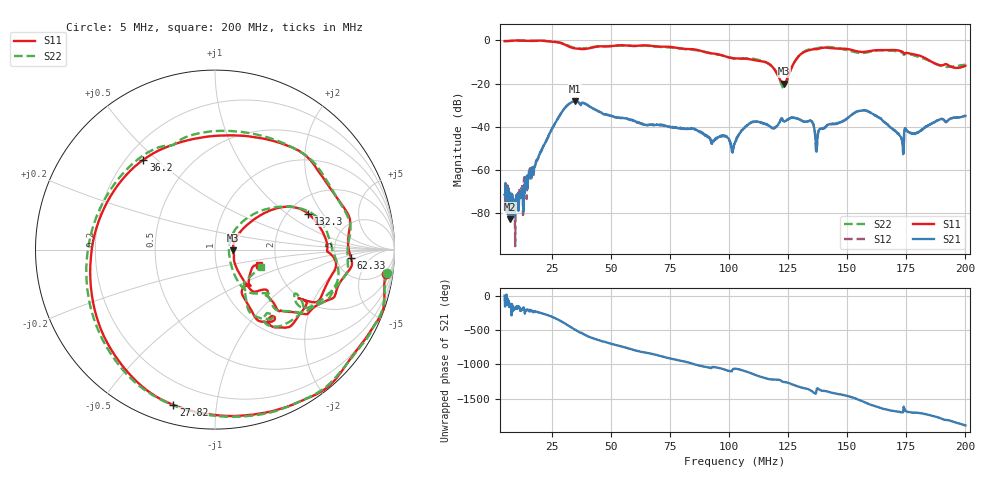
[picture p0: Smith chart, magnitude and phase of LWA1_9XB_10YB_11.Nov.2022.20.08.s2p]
!Keysight Technologies N9917A: A.12.46
!Date: Friday, 11 November 2022 20:09:11
!Timezone: (UTC) Coordinated Universal Time
!Model: N9917A
!Serial: MY56071016
!GPS Latitude:
!GPS Longitude:
!GPS TimeStamp: 0001-01-01 00:00:00Z
!GPS Seconds Since Last Read: 0
!CHECKSUM:1535077626
!Correction: S11(ON U)S21(ON U)S12(ON U)S22(ON U)
!S2P File: Measurements:S11,S21,S12,S22:
# Hz S DB R 50
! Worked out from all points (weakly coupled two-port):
!   1001 points, 5 MHz to 200 MHz, reference 50 ohm
!   highest |S21| = -28.17 dB at 34.64 MHz (marker M1); lowest = -82.7 dB at 7.145 MHz (marker M2)
!   lowest |S11| = -20.0 dB at 123.2 MHz (marker M3), VSWR 1.22, Z = 61 - j0.536 ohm
!   |S11| at or under -10 dB: 115.3 MHz to 127.7 MHz (12.43 MHz wide, 10.2 % of centre); 185.9 MHz to end of sweep
!   |S22| runs from -22.2 to -0.1 dB; largest |S21 - S12| = 0.00078
!   S11 on the Smith chart (normalised r, x): 5 MHz: 4, -13; 27.82 MHz: 0.09, -0.76; 36.2 MHz: 0.27, +0.45; 62.33 MHz: 6.96, -1.54; 132.3 MHz: 2.54, +1.47; 200 MHz: 1.61, -0.30
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5000000  -0.34 -8.0  -71.41 -1.0  -78.75 -120.1  -0.32 -7.7
7145000  -0.26 -13.4  -82.69 -124.4  -71.96 -171.3  -0.26 -13.0
9875000  -0.05 -19.5  -73.78 176.9  -76.28 171.7  -0.09 -19.4
2.0015e7  -0.08 -51.0  -51.70 111.8  -52.43 108.1  -0.14 -51.0
2.7815e7  -0.95 -105.1  -35.61 8.2  -35.63 7.8  -0.92 -104.5
3.464e7  -3.69 152.9  -28.17 -132.0  -28.20 -131.9  -3.44 153.4
3.62e7  -3.87 128.5  -28.61 -164.8  -28.60 -164.8  -3.60 127.6
3.7565e7  -4.03 109.6  -29.17 179.4  -29.13 179.2  -3.95 109.9
4.5755e7  -2.75 43.1  -33.31 62.6  -33.38 62.7  -2.68 40.9
6.233e7  -2.39 -3.5  -38.24 -92.2  -38.30 -91.3  -2.59 -4.6
7.013e7  -2.90 -16.0  -39.09 -150.2  -39.07 -149.9  -2.99 -16.6
1.025e8  -8.35 -42.0  -47.18 16.4  -47.09 16.6  -8.49 -41.1
1.0913e8  -8.79 -38.0  -38.22 -46.4  -38.07 -45.9  -8.28 -39.5
1.16345e8  -10.49 -48.3  -39.13 -129.1  -39.12 -129.1  -10.63 -52.4
1.2317e8  -20.05 -2.5  -37.40 -173.8  -37.41 -174.3  -22.23 0.5
1.32335e8  -5.10 21.2  -37.61 90.8  -37.69 92.0  -4.79 20.6
1.35065e8  -4.21 7.0  -37.76 51.7  -37.60 52.2  -3.96 8.1
1.3721e8  -4.06 -1.0  -48.22 91.1  -48.73 95.0  -3.68 -0.4
1.5554e8  -5.32 -30.3  -32.58 -82.1  -32.55 -81.4  -5.88 -29.6
1.6763e8  -4.47 -41.2  -39.63 138.3  -39.55 137.1  -4.67 -41.5
1.7309e8  -5.12 -51.4  -45.98 105.1  -45.88 104.1  -5.60 -54.1
2e8  -11.73 -19.3  -34.94 -85.7  -34.84 -85.4  -11.31 -20.3
